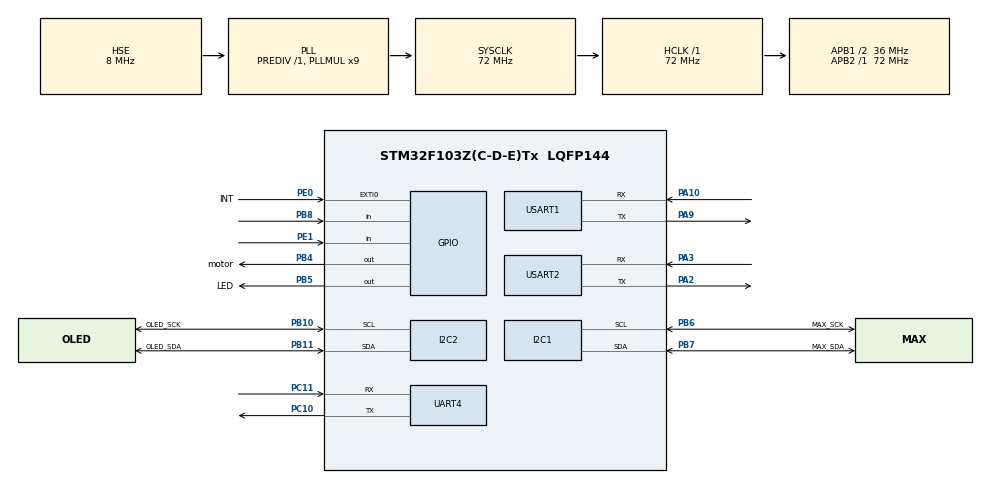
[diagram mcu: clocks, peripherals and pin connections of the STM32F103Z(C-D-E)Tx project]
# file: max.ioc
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I2C1.I2C_Mode=I2C_Fast
I2C2.I2C_Mode=I2C_Fast
Mcu.Family=STM32F1
Mcu.Name=STM32F103Z(C-D-E)Tx
Mcu.Package=LQFP144
NVIC.I2C2_EV_IRQn=true\:1\:0\:true\:false\:true\:true\:true
NVIC.PriorityGroup=NVIC_PRIORITYGROUP_4
NVIC.TIM6_IRQn=true\:0\:0\:true\:false\:true\:true\:true
NVIC.TIM7_IRQn=true\:3\:0\:true\:false\:true\:true\:true
NVIC.UART4_IRQn=true\:2\:0\:true\:false\:true\:true\:true
NVIC.USART2_IRQn=true\:2\:0\:true\:false\:true\:true\:true
OSC_IN.Mode=HSE-External-Oscillator
OSC_IN.Signal=RCC_OSC_IN
OSC_OUT.Mode=HSE-External-Oscillator
OSC_OUT.Signal=RCC_OSC_OUT
PA10.Mode=Asynchronous
PA10.Signal=USART1_RX
PA13.Mode=Serial_Wire
PA13.Signal=SYS_JTMS-SWDIO
PA14.Mode=Serial_Wire
PA14.Signal=SYS_JTCK-SWCLK
PA2.Mode=Asynchronous
PA2.Signal=USART2_TX
PA3.Mode=Asynchronous
PA3.Signal=USART2_RX
PA9.Mode=Asynchronous
PA9.Signal=USART1_TX
PB10.GPIO_Label=OLED_SCK
PB10.Mode=I2C
PB10.Signal=I2C2_SCL
PB11.GPIO_Label=OLED_SDA
PB11.Mode=I2C
PB11.Signal=I2C2_SDA
PB4.GPIO_Label=motor
PB4.Signal=GPIO_Output
PB5.GPIO_Label=LED
PB5.PinState=GPIO_PIN_SET
PB5.Signal=GPIO_Output
PB6.GPIO_Label=MAX_SCK
PB6.Mode=I2C
PB6.Signal=I2C1_SCL
PB7.GPIO_Label=MAX_SDA
PB7.Mode=I2C
PB7.Signal=I2C1_SDA
PB8.GPIO_PuPd=GPIO_NOPULL
PB8.Signal=GPIO_Input
PC10.Mode=Asynchronous
PC10.Signal=UART4_TX
PC11.Mode=Asynchronous
PC11.Signal=UART4_RX
PE0.GPIO_Label=INT
PE0.GPIO_ModeDefaultEXTI=GPIO_MODE_IT_RISING_FALLING
PE0.Signal=GPXTI0
PE1.GPIO_PuPd=GPIO_NOPULL
PE1.Signal=GPIO_Input
ProjectManager.HeapSize=0x200
ProjectManager.StackSize=0x400
ProjectManager.TargetToolchain=MDK-ARM V5.32
RCC.AHBFreq_Value=72000000
RCC.APB1CLKDivider=RCC_HCLK_DIV2
RCC.APB1Freq_Value=36000000
RCC.APB1TimFreq_Value=72000000
RCC.APB2Freq_Value=72000000
RCC.APB2TimFreq_Value=72000000
RCC.HCLKFreq_Value=72000000
RCC.PLLMUL=RCC_PLL_MUL9
RCC.PLLSourceVirtual=RCC_PLLSOURCE_HSE
RCC.SYSCLKFreq_VALUE=72000000
RCC.SYSCLKSource=RCC_SYSCLKSOURCE_PLLCLK
RCC.USBFreq_Value=72000000
TIM6.Period=99
TIM6.Prescaler=719
TIM7.Period=4999
TIM7.Prescaler=7199
UART4.VirtualMode=Asynchronous
USART1.VirtualMode=VM_ASYNC
USART2.VirtualMode=VM_ASYNC
VP_TIM6_VS_ClockSourceINT.Mode=Enable_Timer
VP_TIM7_VS_ClockSourceINT.Mode=Enable_Timer
board=custom

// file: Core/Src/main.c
/* USER CODE BEGIN Header */
/**
  ******************************************************************************
  * @file           : main.c
  * @brief          : Main program body
  ******************************************************************************
  * @attention
  *
  * Copyright (c) 2022 STMicroelectronics.
  * All rights reserved.
  *
  * This software is licensed under terms that can be found in the LICENSE file
  * in the root directory of this software component.
  * If no LICENSE file comes with this software, it is provided AS-IS.
  *
  ******************************************************************************
  */
/* USER CODE END Header */
#include "main.h"
#include "i2c.h"
#include "tim.h"
#include "usart.h"
#include "gpio.h"

/* USER CODE BEGIN Includes */
#include "oled.h"
#include "max30102.h"
#include "string.h"
/* USER CODE END Includes */

/* USER CODE BEGIN PV */
uint8_t spo ;
uint8_t heartReat;
uint8_t *heartnum;
char UartBuffer[32];

uint8_t u4_data=0;
/* USER CODE END PV */

void SystemClock_Config(void);

/* USER CODE BEGIN 0 */
//void USART1_SendString(char* s) {
//	HAL_UART_Transmit(&huart1, (uint8_t*) s, strlen(s), 1000);
//}
/* USER CODE END 0 */

int main(void)
{

  /* MCU Configuration--------------------------------------------------------*/

  /* Reset of all peripherals, Initializes the Flash interface and the Systick. */
  HAL_Init();

  /* Configure the system clock */
  SystemClock_Config();

  /* Initialize all configured peripherals */
  MX_GPIO_Init();
  MX_I2C1_Init();
  MX_USART1_UART_Init();
  MX_I2C2_Init();
  MX_USART2_UART_Init();
  MX_TIM7_Init();
  MX_TIM6_Init();
  MX_UART4_Init();
  /* USER CODE BEGIN 2 */
    HAL_Delay(200);
    OLED_Init();
    max30102_init();

	HAL_TIM_Base_Start_IT(&htim6);
	HAL_TIM_Base_Start_IT(&htim7);
	HAL_UART_Receive_IT(&huart2, (uint8_t *)&mesg, 1);
	HAL_UART_Receive_IT(&huart4,&u4_data,1);
		Net_Things_Init();
		int k =0;

  /* USER CODE END 2 */

  /* Infinite loop */
  while (1)
  {

    /* USER CODE BEGIN 3 */
//		heartnum[1]=heartReat;
//		heartnum=&heartReat;
//			printf("heart:%d",heartReat);
//				Property_Post(heartReat,spo);
//HAL_Delay(50);
            // 显示心率
HAL_GPIO_WritePin(LED_GPIO_Port,LED_Pin,GPIO_PIN_SET);
            if (heartReat % 1000 / 100 > 0)
                OLED_showNum(0, heartReat % 1000 / 100);
            else
                OLED_showNum(0, 10);
            OLED_showNum(1, heartReat % 100 / 10);
            OLED_showNum(2, heartReat % 10);
            // 显示血氧
            if (spo % 1000 / 100 > 0)
                OLED_showNum(3, spo % 1000 / 100);
            else
                OLED_showNum(3, 10);
            OLED_showNum(4, spo % 100 / 10);
            OLED_showNum(5, spo % 10);
            // 画图表
            int16_t diff = max30102_getDiff();
            OLED_drawChart(diff);
            if (diff > 50)
                OLED_showHeart(0);
            else
                OLED_showHeart(1);
						HAL_Delay(10);
						Property_Post(heartReat,spo);
		}

  /* USER CODE END 3 */
}

void SystemClock_Config(void)
{
  RCC_OscInitTypeDef RCC_OscInitStruct = {0};
  RCC_ClkInitTypeDef RCC_ClkInitStruct = {0};

  /** Initializes the RCC Oscillators according to the specified parameters
  * in the RCC_OscInitTypeDef structure.
  */
  RCC_OscInitStruct.OscillatorType = RCC_OSCILLATORTYPE_HSE;
  RCC_OscInitStruct.HSEState = RCC_HSE_ON;
  RCC_OscInitStruct.HSEPredivValue = RCC_HSE_PREDIV_DIV1;
  RCC_OscInitStruct.HSIState = RCC_HSI_ON;
  RCC_OscInitStruct.PLL.PLLState = RCC_PLL_ON;
  RCC_OscInitStruct.PLL.PLLSource = RCC_PLLSOURCE_HSE;
  RCC_OscInitStruct.PLL.PLLMUL = RCC_PLL_MUL9;
  if (HAL_RCC_OscConfig(&RCC_OscInitStruct) != HAL_OK)
  {
    Error_Handler();
  }
  /** Initializes the CPU, AHB and APB buses clocks
  */
  RCC_ClkInitStruct.ClockType = RCC_CLOCKTYPE_HCLK|RCC_CLOCKTYPE_SYSCLK
                              |RCC_CLOCKTYPE_PCLK1|RCC_CLOCKTYPE_PCLK2;
  RCC_ClkInitStruct.SYSCLKSource = RCC_SYSCLKSOURCE_PLLCLK;
  RCC_ClkInitStruct.AHBCLKDivider = RCC_SYSCLK_DIV1;
  RCC_ClkInitStruct.APB1CLKDivider = RCC_HCLK_DIV2;
  RCC_ClkInitStruct.APB2CLKDivider = RCC_HCLK_DIV1;

  if (HAL_RCC_ClockConfig(&RCC_ClkInitStruct, FLASH_LATENCY_2) != HAL_OK)
  {
    Error_Handler();
  }
}

/* USER CODE BEGIN 4 */
void  HAL_TIM_PeriodElapsedCallback(TIM_HandleTypeDef *htim)    //定时器中断回调函数
  {

     if(htim == &htim7)   //确定是定时器6产生的中断
     {
					if(RX_Flag == 1){
				HAL_UART_Transmit(&huart1, message, offset, 0xffff);
				memset(message, '\0', sizeof(message));

				RX_Flag = 0;

				}
			else{
				HAL_UART_Transmit(&huart1, "Hello World!\r\n", sizeof("Hello World!\r\n"), 0xffff);
						}

     }
			if(htim == &htim6)   //确定是定时器6产生的中断
			{
				        if (HAL_GPIO_ReadPin(GPIOB, GPIO_PIN_8) == GPIO_PIN_RESET)
        {
            HAL_GPIO_TogglePin(GPIOB, GPIO_PIN_5);
            max30102_cal();

            spo = max30102_getSpO2();
             heartReat = max30102_getHeartRate();
					if(heartReat>100)heartReat=100;

//					          Property_Post(heartReat,spo);
				}
			}

  }
	void HAL_UART_RxCpltCallback(UART_HandleTypeDef *huart)
{
	if(huart==&huart4)
	{

		if(u4_data=='0') {printf("%d",u4_data);HAL_GPIO_WritePin(GPIOB,GPIO_PIN_4,GPIO_PIN_RESET);}
		else if(u4_data=='1')HAL_GPIO_WritePin(GPIOB,GPIO_PIN_4,GPIO_PIN_SET);
		HAL_UART_Transmit(&huart4, "Hello World!\r\n", sizeof("Hello World!\r\n"), 0xffff);
    //else if(u1_data=='r') {_set_FAULTMASK(1);HAL_NVIC_System_Reset();}

    HAL_UART_Receive_IT(&huart4,&u4_data,1);
	}

}
//void HAL_GPIO_EXTI_Callback(uint16_t GPIO_Pin) {
//	if (GPIO_Pin == INT_Pin) {
//	 HAL_GPIO_TogglePin(GPIOB, GPIO_PIN_5);
//		max30102_cal();

//spo = max30102_getSpO2();
//heartReat = max30102_getHeartRate();
//	}
//}
/* USER CODE END 4 */

void Error_Handler(void)
{
  __disable_irq();
  while (1)
  {
  }
}
